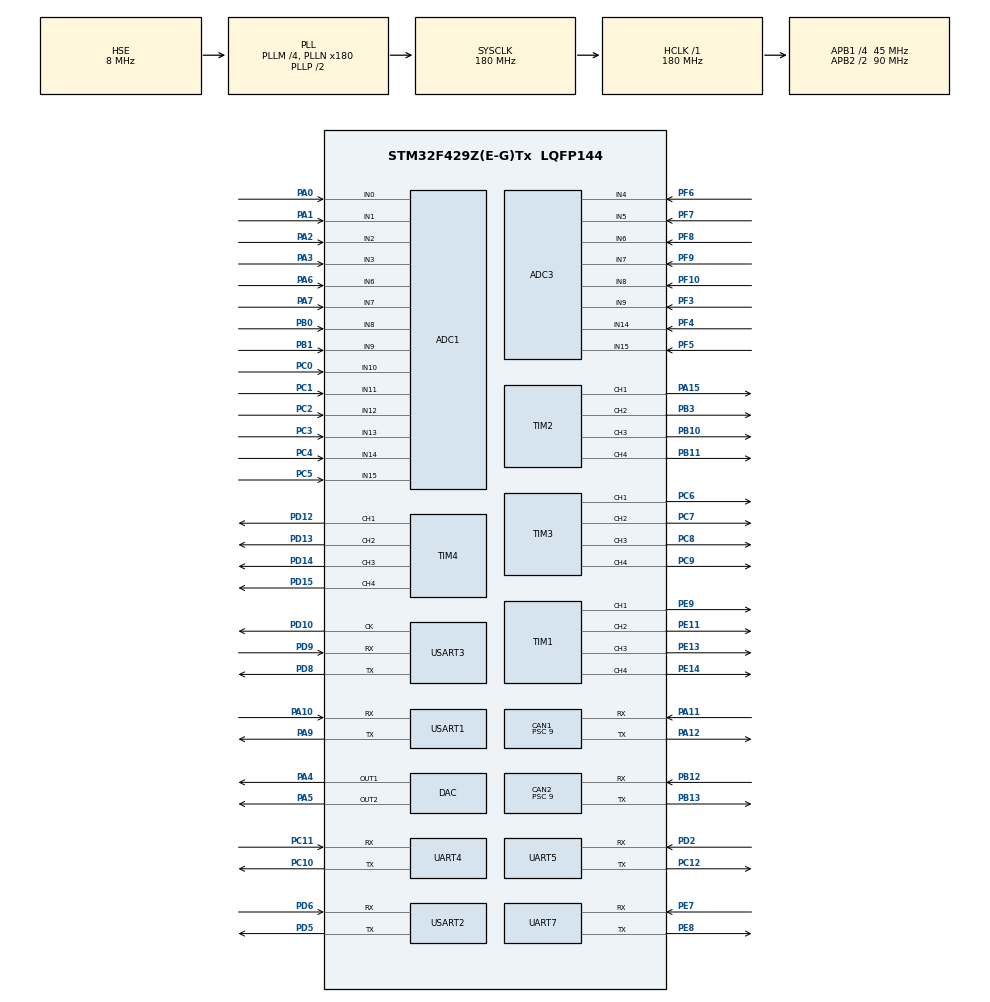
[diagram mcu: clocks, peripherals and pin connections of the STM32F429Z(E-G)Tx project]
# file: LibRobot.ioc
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ADC1.Channel-4\#ChannelRegularConversion=ADC_CHANNEL_6
ADC1.NbrOfConversionFlag=1
ADC1.Rank-4\#ChannelRegularConversion=1
ADC1.SamplingTime-4\#ChannelRegularConversion=ADC_SAMPLETIME_3CYCLES
ADC1.master=1
ADC3.Channel-14\#ChannelRegularConversion=ADC_CHANNEL_4
ADC3.NbrOfConversionFlag=1
ADC3.Rank-14\#ChannelRegularConversion=1
ADC3.SamplingTime-14\#ChannelRegularConversion=ADC_SAMPLETIME_3CYCLES
CAN1.BS1=CAN_BS1_3TQ
CAN1.CalculateTimeBit=1000
CAN1.CalculateTimeQuantum=200.0
CAN1.Prescaler=9
CAN1.SJW=CAN_SJW_1TQ
CAN2.BS1=CAN_BS1_3TQ
CAN2.CalculateTimeBit=1000
CAN2.CalculateTimeQuantum=200.0
CAN2.Prescaler=9
Mcu.Family=STM32F4
Mcu.Name=STM32F429Z(E-G)Tx
Mcu.Package=LQFP144
NVIC.CAN1_RX0_IRQn=true\:0\:0\:false\:false\:true\:true
NVIC.PriorityGroup=NVIC_PRIORITYGROUP_4
NVIC.UART7_IRQn=true\:0\:0\:false\:false\:true\:true
NVIC.USART1_IRQn=true\:0\:0\:false\:false\:true\:true
PA0/WKUP.Signal=ADCx_IN0
PA1.Signal=ADCx_IN1
PA10.Mode=Asynchronous
PA10.Signal=USART1_RX
PA11.Mode=Master
PA11.Signal=CAN1_RX
PA12.Mode=Master
PA12.Signal=CAN1_TX
PA13.Mode=Serial_Wire
PA13.Signal=SYS_JTMS-SWDIO
PA14.Mode=Serial_Wire
PA14.Signal=SYS_JTCK-SWCLK
PA15.Signal=S_TIM2_CH1_ETR
PA2.Signal=ADCx_IN2
PA3.Signal=ADCx_IN3
PA4.Signal=COMP_DAC1_group
PA5.Signal=COMP_DAC2_group
PA6.Signal=ADCx_IN6
PA7.Signal=ADCx_IN7
PA9.Mode=Asynchronous
PA9.Signal=USART1_TX
PB0.Signal=ADCx_IN8
PB1.Signal=ADCx_IN9
PB10.Signal=S_TIM2_CH3
PB11.Signal=S_TIM2_CH4
PB12.Mode=Slave
PB12.Signal=CAN2_RX
PB13.Mode=Slave
PB13.Signal=CAN2_TX
PB3.Signal=S_TIM2_CH2
PC0.Signal=ADCx_IN10
PC1.Signal=ADCx_IN11
PC10.Mode=Asynchronous
PC10.Signal=UART4_TX
PC11.Mode=Asynchronous
PC11.Signal=UART4_RX
PC12.Mode=Asynchronous
PC12.Signal=UART5_TX
PC14/OSC32_IN.Mode=LSE-External-Oscillator
PC14/OSC32_IN.Signal=RCC_OSC32_IN
PC15/OSC32_OUT.Mode=LSE-External-Oscillator
PC15/OSC32_OUT.Signal=RCC_OSC32_OUT
PC2.Signal=ADCx_IN12
PC3.Signal=ADCx_IN13
PC4.Signal=ADCx_IN14
PC5.Signal=ADCx_IN15
PC6.Signal=S_TIM3_CH1
PC7.Signal=S_TIM3_CH2
PC8.Signal=S_TIM3_CH3
PC9.Signal=S_TIM3_CH4
PD10.Mode=Synchronous
PD10.Signal=USART3_CK
PD12.Signal=S_TIM4_CH1
PD13.Signal=S_TIM4_CH2
PD14.Signal=S_TIM4_CH3
PD15.Signal=S_TIM4_CH4
PD2.Mode=Asynchronous
PD2.Signal=UART5_RX
PD5.Mode=Asynchronous
PD5.Signal=USART2_TX
PD6.Mode=Asynchronous
PD6.Signal=USART2_RX
PD8.Mode=Synchronous
PD8.Signal=USART3_TX
PD9.Mode=Synchronous
PD9.Signal=USART3_RX
PE11.Signal=S_TIM1_CH2
PE13.Signal=S_TIM1_CH3
PE14.Signal=S_TIM1_CH4
PE7.Mode=Asynchronous
PE7.Signal=UART7_RX
PE8.Mode=Asynchronous
PE8.Signal=UART7_TX
PE9.Signal=S_TIM1_CH1
PF10.Mode=IN8
PF10.Signal=ADC3_IN8
PF3.Mode=IN9
PF3.Signal=ADC3_IN9
PF4.Mode=IN14
PF4.Signal=ADC3_IN14
PF5.Mode=IN15
PF5.Signal=ADC3_IN15
PF6.Mode=IN4
PF6.Signal=ADC3_IN4
PF7.Mode=IN5
PF7.Signal=ADC3_IN5
PF8.Mode=IN6
PF8.Signal=ADC3_IN6
PF9.Mode=IN7
PF9.Signal=ADC3_IN7
PH0/OSC_IN.Mode=HSE-External-Oscillator
PH0/OSC_IN.Signal=RCC_OSC_IN
PH1/OSC_OUT.Mode=HSE-External-Oscillator
PH1/OSC_OUT.Signal=RCC_OSC_OUT
ProjectManager.HeapSize=0x200
ProjectManager.StackSize=0x400
ProjectManager.TargetToolchain=MDK-ARM V5
RCC.48MHZClocksFreq_Value=90000000
RCC.AHBFreq_Value=180000000
RCC.APB1CLKDivider=RCC_HCLK_DIV4
RCC.APB1Freq_Value=45000000
RCC.APB1TimFreq_Value=90000000
RCC.APB2CLKDivider=RCC_HCLK_DIV2
RCC.APB2Freq_Value=90000000
RCC.APB2TimFreq_Value=180000000
RCC.CortexFreq_Value=180000000
RCC.HCLKFreq_Value=180000000
RCC.HSE_VALUE=8000000
RCC.HSI_VALUE=16000000
RCC.PLLM=4
RCC.PLLN=180
RCC.PLLSourceVirtual=RCC_PLLSOURCE_HSE
RCC.SYSCLKFreq_VALUE=180000000
RCC.SYSCLKSource=RCC_SYSCLKSOURCE_PLLCLK
RCC.VCOOutputFreq_Value=360000000
SH.ADCx_IN0.0=ADC1_IN0,IN0
SH.ADCx_IN1.0=ADC1_IN1,IN1
SH.ADCx_IN10.0=ADC1_IN10,IN10
SH.ADCx_IN11.0=ADC1_IN11,IN11
SH.ADCx_IN12.0=ADC1_IN12,IN12
SH.ADCx_IN13.0=ADC1_IN13,IN13
SH.ADCx_IN14.0=ADC1_IN14,IN14
SH.ADCx_IN15.0=ADC1_IN15,IN15
SH.ADCx_IN2.0=ADC1_IN2,IN2
SH.ADCx_IN3.0=ADC1_IN3,IN3
SH.ADCx_IN6.0=ADC1_IN6,IN6
SH.ADCx_IN7.0=ADC1_IN7,IN7
SH.ADCx_IN8.0=ADC1_IN8,IN8
SH.ADCx_IN9.0=ADC1_IN9,IN9
SH.COMP_DAC1_group.0=DAC_OUT1,DAC_OUT1
SH.COMP_DAC2_group.0=DAC_OUT2,DAC_OUT2
SH.S_TIM1_CH1.0=TIM1_CH1,Output Compare1 CH1
SH.S_TIM1_CH2.0=TIM1_CH2,Output Compare2 CH2
SH.S_TIM1_CH3.0=TIM1_CH3,Output Compare3 CH3
SH.S_TIM1_CH4.0=TIM1_CH4,Output Compare4 CH4
SH.S_TIM2_CH1_ETR.0=TIM2_CH1,PWM Generation1 CH1
SH.S_TIM2_CH2.0=TIM2_CH2,PWM Generation2 CH2
SH.S_TIM2_CH3.0=TIM2_CH3,PWM Generation3 CH3
SH.S_TIM2_CH4.0=TIM2_CH4,PWM Generation4 CH4
SH.S_TIM3_CH1.0=TIM3_CH1,PWM Generation1 CH1
SH.S_TIM3_CH2.0=TIM3_CH2,PWM Generation2 CH2
SH.S_TIM3_CH3.0=TIM3_CH3,PWM Generation3 CH3
SH.S_TIM3_CH4.0=TIM3_CH4,PWM Generation4 CH4
SH.S_TIM4_CH1.0=TIM4_CH1,PWM Generation1 CH1
SH.S_TIM4_CH2.0=TIM4_CH2,PWM Generation2 CH2
SH.S_TIM4_CH3.0=TIM4_CH3,PWM Generation3 CH3
SH.S_TIM4_CH4.0=TIM4_CH4,PWM Generation4 CH4
TIM3.Channel-PWM\ Generation1\ CH1=TIM_CHANNEL_1
TIM3.Channel-PWM\ Generation2\ CH2=TIM_CHANNEL_2
TIM3.Channel-PWM\ Generation3\ CH3=TIM_CHANNEL_3
TIM3.Channel-PWM\ Generation4\ CH4=TIM_CHANNEL_4
TIM4.Channel-PWM\ Generation1\ CH1=TIM_CHANNEL_1
TIM4.Channel-PWM\ Generation2\ CH2=TIM_CHANNEL_2
TIM4.Channel-PWM\ Generation3\ CH3=TIM_CHANNEL_3
TIM4.Channel-PWM\ Generation4\ CH4=TIM_CHANNEL_4
TIM5.Period=4294967295
TIM5.Prescaler=89
UART4.VirtualMode=Asynchronous
UART5.VirtualMode=Asynchronous
UART7.VirtualMode=Asynchronous
USART1.VirtualMode=VM_ASYNC
USART2.VirtualMode=VM_ASYNC
USART3.VirtualMode=VM_SYNC
VP_ADC1_Vref_Input.Mode=IN-Vrefint
VP_TIM1_VS_ControllerModeClock.Mode=Clock Mode
VP_TIM2_VS_ControllerModeClock.Mode=Clock Mode
VP_TIM3_VS_ControllerModeClock.Mode=Clock Mode
VP_TIM5_VS_ClockSourceINT.Mode=Internal
board=LibRobot

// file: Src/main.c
/**
 ******************************************************************************
 * File Name          : main.c
 * Description        : Main program body
 ******************************************************************************
 ** This notice applies to any and all portions of this file
 * that are not between comment pairs USER CODE BEGIN and
 * USER CODE END. Other portions of this file, whether
 * inserted by the user or by software development tools
 * are owned by their respective copyright owners.
 *
 * COPYRIGHT(c) 2020 STMicroelectronics
 *
 * Redistribution and use in source and binary forms, with or without
 *modification, are permitted provided that the following conditions are met:
 *   1. Redistributions of source code must retain the above copyright notice,
 *      this list of conditions and the following disclaimer.
 *   2. Redistributions in binary form must reproduce the above copyright
 *notice, this list of conditions and the following disclaimer in the
 *documentation and/or other materials provided with the distribution.
 *   3. Neither the name of STMicroelectronics nor the names of its contributors
 *      may be used to endorse or promote products derived from this software
 *      without specific prior written permission.
 *
 * THIS SOFTWARE IS PROVIDED BY THE COPYRIGHT HOLDERS AND CONTRIBUTORS "AS IS"
 * AND ANY EXPRESS OR IMPLIED WARRANTIES, INCLUDING, BUT NOT LIMITED TO, THE
 * IMPLIED WARRANTIES OF MERCHANTABILITY AND FITNESS FOR A PARTICULAR PURPOSE
 *ARE DISCLAIMED. IN NO EVENT SHALL THE COPYRIGHT HOLDER OR CONTRIBUTORS BE
 *LIABLE FOR ANY DIRECT, INDIRECT, INCIDENTAL, SPECIAL, EXEMPLARY, OR
 *CONSEQUENTIAL DAMAGES (INCLUDING, BUT NOT LIMITED TO, PROCUREMENT OF
 *SUBSTITUTE GOODS OR SERVICES; LOSS OF USE, DATA, OR PROFITS; OR BUSINESS
 *INTERRUPTION) HOWEVER CAUSED AND ON ANY THEORY OF LIABILITY, WHETHER IN
 *CONTRACT, STRICT LIABILITY, OR TORT (INCLUDING NEGLIGENCE OR OTHERWISE)
 *ARISING IN ANY WAY OUT OF THE USE OF THIS SOFTWARE, EVEN IF ADVISED OF THE
 *POSSIBILITY OF SUCH DAMAGE.
 *
 ******************************************************************************
 */

#include "main.h"

#include "stm32f4xx_hal.h"

/* USER CODE BEGIN Includes */
#include "MotorDriver.h"
#include "stdio.h"
#include "stdlib.h"
/* USER CODE END Includes */

ADC_HandleTypeDef hadc1;
ADC_HandleTypeDef hadc3;

CAN_HandleTypeDef hcan1;
CAN_HandleTypeDef hcan2;

DAC_HandleTypeDef hdac;

TIM_HandleTypeDef htim1;
TIM_HandleTypeDef htim2;
TIM_HandleTypeDef htim3;
TIM_HandleTypeDef htim4;
TIM_HandleTypeDef htim5;

UART_HandleTypeDef huart4;
UART_HandleTypeDef huart5;
UART_HandleTypeDef huart7;
UART_HandleTypeDef huart1;
UART_HandleTypeDef huart2;
USART_HandleTypeDef husart3;

/* USER CODE BEGIN PV */
/* Private variables ---------------------------------------------------------*/

#define QueMAX 128
typedef struct {
    uint8_t* base;
    int front;
    int rear;
} sQueue;

volatile uint8_t UART7_RxBuffer;
volatile sQueue Queue1;
volatile MotorDataType Motor[3];
volatile uint32_t SYS_Time_us;

/* USER CODE END PV */

void SystemClock_Config(void);
static void MX_GPIO_Init(void);
static void MX_ADC1_Init(void);
static void MX_ADC3_Init(void);
static void MX_CAN1_Init(void);
static void MX_CAN2_Init(void);
static void MX_DAC_Init(void);
static void MX_TIM1_Init(void);
static void MX_TIM2_Init(void);
static void MX_TIM3_Init(void);
static void MX_TIM4_Init(void);
static void MX_UART4_Init(void);
static void MX_UART5_Init(void);
static void MX_UART7_Init(void);
static void MX_USART1_UART_Init(void);
static void MX_USART2_UART_Init(void);
static void MX_USART3_Init(void);
static void MX_TIM5_Init(void);

void HAL_TIM_MspPostInit(TIM_HandleTypeDef* htim);

/* USER CODE BEGIN PFP */
/* Private function prototypes -----------------------------------------------*/

void Motor_Init(MotorDataType* MotorC);
uint8_t GetLine(void);
int Tracking(MotorDataType* Motor);
void ChassisTurn(MotorDataType* MotorC, double Angle);

void InitQueue(sQueue* s);
void enQueue(sQueue* s, uint8_t e);
uint8_t deQueue(sQueue* s);
void clrQueue(sQueue* s);
int lenQueue(sQueue s);
/* USER CODE END PFP */

int main(void) {

    /* MCU
     * Configuration----------------------------------------------------------*/

    /* Reset of all peripherals, Initializes the Flash interface and the
     * Systick. */
    HAL_Init();

    /* Configure the system clock */
    SystemClock_Config();

    /* Initialize all configured peripherals */
    MX_GPIO_Init();
    MX_ADC1_Init();
    MX_ADC3_Init();
    MX_CAN1_Init();
    MX_CAN2_Init();
    MX_DAC_Init();
    MX_TIM1_Init();
    MX_TIM2_Init();
    MX_TIM3_Init();
    MX_TIM4_Init();
    MX_UART4_Init();
    MX_UART5_Init();
    MX_UART7_Init();
    MX_USART1_UART_Init();
    MX_USART2_UART_Init();
    MX_USART3_Init();
    MX_TIM5_Init();

    /* USER CODE BEGIN 2 */
    static CanRxMsgTypeDef RxMessage1;
    hcan1.pRxMsg = &RxMessage1;
    static CanTxMsgTypeDef TxMessage1;
    hcan1.pTxMsg = &TxMessage1;
    static CanTxMsgTypeDef TxMessage2;
    hcan2.pTxMsg = &TxMessage2;
    static CanRxMsgTypeDef RxMessage2;
    hcan2.pRxMsg = &RxMessage2;

    Motor_Init(Motor);

    /*CAN过滤器初始化*/
    CAN_FilterConfTypeDef sFilterConfig;

    sFilterConfig.FilterNumber = 0;                     //使用过滤器组1
    sFilterConfig.FilterMode = CAN_FILTERMODE_IDMASK;   //设为掩码模式
    sFilterConfig.FilterScale = CAN_FILTERSCALE_16BIT;  //位宽设置为16位
    sFilterConfig.FilterIdHigh = 0x000 << 5;            // 2个标准CAN
                                              // ID分别放入到2个存储中
    sFilterConfig.FilterIdLow = 0x000 << 5;
    sFilterConfig.FilterMaskIdHigh = 0x000 << 5;
    sFilterConfig.FilterMaskIdLow = 0x000 << 5;
    sFilterConfig.FilterFIFOAssignment = 0;  //接收到的报文放入到FIFO0中
    sFilterConfig.FilterActivation = ENABLE;
    sFilterConfig.BankNumber = 15;                 //设置过滤器编号
    HAL_CAN_ConfigFilter(&hcan1, &sFilterConfig);  //设置过滤器

    HAL_CAN_Receive_IT(&hcan1, CAN_FIFO0);
    /*CAN过滤器初始化*/

    InitQueue(&Queue1);  //初始化命令接收队列
    HAL_UART_Receive_IT(&huart7, (uint8_t*)&UART7_RxBuffer, 1);

    HAL_Delay(500);
    MotorReset(&hcan1, 0x000);
    printf("Motor Reset OK\n");

    HAL_Delay(500);
    MotorModeChoose(&hcan1, 0x011, 0x01);
    HAL_Delay(500);
    MotorReportCAN(&hcan1, 0x01A, 10, 0);

    HAL_TIM_Base_Start_IT(&htim5);  //启动系统运行计时

    /* USER CODE END 2 */

    /* Infinite loop */
    while (1) {

        /* USER CODE BEGIN 3 */

        // TODO：重构主循环状态机，还书过程运动逻辑

        SYS_Time_us = __HAL_TIM_GetCounter(&htim5);

        // test2
        if (Queue1.base[Queue1.rear - 1] == 0xFF) {
            printf("\r\nt=%d\r\n", SYS_Time_us);
            for (int i = 0; i < QueMAX; i++) {
                printf("%x ", Queue1.base[i]);
            }
            clrQueue(&Queue1);
        }

        // test
        /*
        int i;
        while(1) {
            i = i + 100;
            MotorOC(&hcan1, 0X012, i);
            if(i == 3000)
                break;
            HAL_Delay(100);
            PrintMotorState(&Motor[1]);
        }
        while(1) {
            i = i - 100;
            MotorOC(&hcan1, 0X012, i);
            if(i == -3000)
                break;
            HAL_Delay(100);
            PrintMotorState(&Motor[1]);
        }
        while(1) {
            i = i + 100;
            MotorOC(&hcan1, 0X012, i);
            if(i == 0)
                break;
            HAL_Delay(100);
            PrintMotorState(&Motor[1]);
        }
        MotorOC(&hcan1, 0X012, 0);
        while(1) {
            PrintMotorState(&Motor[1]);
            HAL_Delay(1000);
        }
        */
    }

    /* USER CODE END 3 */
}

/** System Clock Configuration
 */
void SystemClock_Config(void) {
    RCC_OscInitTypeDef RCC_OscInitStruct;
    RCC_ClkInitTypeDef RCC_ClkInitStruct;

    /**Configure the main internal regulator output voltage
     */
    __HAL_RCC_PWR_CLK_ENABLE();

    __HAL_PWR_VOLTAGESCALING_CONFIG(PWR_REGULATOR_VOLTAGE_SCALE1);

    /**Initializes the CPU, AHB and APB busses clocks
     */
    RCC_OscInitStruct.OscillatorType = RCC_OSCILLATORTYPE_HSE;
    RCC_OscInitStruct.HSEState = RCC_HSE_ON;
    RCC_OscInitStruct.PLL.PLLState = RCC_PLL_ON;
    RCC_OscInitStruct.PLL.PLLSource = RCC_PLLSOURCE_HSE;
    RCC_OscInitStruct.PLL.PLLM = 4;
    RCC_OscInitStruct.PLL.PLLN = 180;
    RCC_OscInitStruct.PLL.PLLP = RCC_PLLP_DIV2;
    RCC_OscInitStruct.PLL.PLLQ = 4;
    if (HAL_RCC_OscConfig(&RCC_OscInitStruct) != HAL_OK) {
        _Error_Handler(__FILE__, __LINE__);
    }

    /**Activate the Over-Drive mode
     */
    if (HAL_PWREx_EnableOverDrive() != HAL_OK) {
        _Error_Handler(__FILE__, __LINE__);
    }

    /**Initializes the CPU, AHB and APB busses clocks
     */
    RCC_ClkInitStruct.ClockType = RCC_CLOCKTYPE_HCLK | RCC_CLOCKTYPE_SYSCLK |
                                  RCC_CLOCKTYPE_PCLK1 | RCC_CLOCKTYPE_PCLK2;
    RCC_ClkInitStruct.SYSCLKSource = RCC_SYSCLKSOURCE_PLLCLK;
    RCC_ClkInitStruct.AHBCLKDivider = RCC_SYSCLK_DIV1;
    RCC_ClkInitStruct.APB1CLKDivider = RCC_HCLK_DIV4;
    RCC_ClkInitStruct.APB2CLKDivider = RCC_HCLK_DIV2;

    if (HAL_RCC_ClockConfig(&RCC_ClkInitStruct, FLASH_LATENCY_5) != HAL_OK) {
        _Error_Handler(__FILE__, __LINE__);
    }

    /**Configure the Systick interrupt time
     */
    HAL_SYSTICK_Config(HAL_RCC_GetHCLKFreq() / 1000);

    /**Configure the Systick
     */
    HAL_SYSTICK_CLKSourceConfig(SYSTICK_CLKSOURCE_HCLK);

    /* SysTick_IRQn interrupt configuration */
    HAL_NVIC_SetPriority(SysTick_IRQn, 0, 0);
}

/* ADC1 init function */
static void MX_ADC1_Init(void) {
    ADC_ChannelConfTypeDef sConfig;

    /**Configure the global features of the ADC (Clock, Resolution, Data
     * Alignment and number of conversion)
     */
    hadc1.Instance = ADC1;
    hadc1.Init.ClockPrescaler = ADC_CLOCK_SYNC_PCLK_DIV4;
    hadc1.Init.Resolution = ADC_RESOLUTION_12B;
    hadc1.Init.ScanConvMode = DISABLE;
    hadc1.Init.ContinuousConvMode = DISABLE;
    hadc1.Init.DiscontinuousConvMode = DISABLE;
    hadc1.Init.ExternalTrigConvEdge = ADC_EXTERNALTRIGCONVEDGE_NONE;
    hadc1.Init.ExternalTrigConv = ADC_SOFTWARE_START;
    hadc1.Init.DataAlign = ADC_DATAALIGN_RIGHT;
    hadc1.Init.NbrOfConversion = 1;
    hadc1.Init.DMAContinuousRequests = DISABLE;
    hadc1.Init.EOCSelection = ADC_EOC_SINGLE_CONV;
    if (HAL_ADC_Init(&hadc1) != HAL_OK) {
        _Error_Handler(__FILE__, __LINE__);
    }

    /**Configure for the selected ADC regular channel its corresponding rank in
     * the sequencer and its sample time.
     */
    sConfig.Channel = ADC_CHANNEL_6;
    sConfig.Rank = 1;
    sConfig.SamplingTime = ADC_SAMPLETIME_3CYCLES;
    if (HAL_ADC_ConfigChannel(&hadc1, &sConfig) != HAL_OK) {
        _Error_Handler(__FILE__, __LINE__);
    }
}

/* ADC3 init function */
static void MX_ADC3_Init(void) {
    ADC_ChannelConfTypeDef sConfig;

    /**Configure the global features of the ADC (Clock, Resolution, Data
     * Alignment and number of conversion)
     */
    hadc3.Instance = ADC3;
    hadc3.Init.ClockPrescaler = ADC_CLOCK_SYNC_PCLK_DIV4;
    hadc3.Init.Resolution = ADC_RESOLUTION_12B;
    hadc3.Init.ScanConvMode = DISABLE;
    hadc3.Init.ContinuousConvMode = DISABLE;
    hadc3.Init.DiscontinuousConvMode = DISABLE;
    hadc3.Init.ExternalTrigConvEdge = ADC_EXTERNALTRIGCONVEDGE_NONE;
    hadc3.Init.ExternalTrigConv = ADC_SOFTWARE_START;
    hadc3.Init.DataAlign = ADC_DATAALIGN_RIGHT;
    hadc3.Init.NbrOfConversion = 1;
    hadc3.Init.DMAContinuousRequests = DISABLE;
    hadc3.Init.EOCSelection = ADC_EOC_SINGLE_CONV;
    if (HAL_ADC_Init(&hadc3) != HAL_OK) {
        _Error_Handler(__FILE__, __LINE__);
    }

    /**Configure for the selected ADC regular channel its corresponding rank in
     * the sequencer and its sample time.
     */
    sConfig.Channel = ADC_CHANNEL_4;
    sConfig.Rank = 1;
    sConfig.SamplingTime = ADC_SAMPLETIME_3CYCLES;
    if (HAL_ADC_ConfigChannel(&hadc3, &sConfig) != HAL_OK) {
        _Error_Handler(__FILE__, __LINE__);
    }
}

/* CAN1 init function */
static void MX_CAN1_Init(void) {
    hcan1.Instance = CAN1;
    hcan1.Init.Prescaler = 9;
    hcan1.Init.Mode = CAN_MODE_NORMAL;
    hcan1.Init.SJW = CAN_SJW_1TQ;
    hcan1.Init.BS1 = CAN_BS1_3TQ;
    hcan1.Init.BS2 = CAN_BS2_1TQ;
    hcan1.Init.TTCM = DISABLE;
    hcan1.Init.ABOM = DISABLE;
    hcan1.Init.AWUM = DISABLE;
    hcan1.Init.NART = DISABLE;
    hcan1.Init.RFLM = DISABLE;
    hcan1.Init.TXFP = DISABLE;
    if (HAL_CAN_Init(&hcan1) != HAL_OK) {
        _Error_Handler(__FILE__, __LINE__);
    }
}

/* CAN2 init function */
static void MX_CAN2_Init(void) {
    hcan2.Instance = CAN2;
    hcan2.Init.Prescaler = 9;
    hcan2.Init.Mode = CAN_MODE_NORMAL;
    hcan2.Init.SJW = CAN_SJW_1TQ;
    hcan2.Init.BS1 = CAN_BS1_3TQ;
    hcan2.Init.BS2 = CAN_BS2_1TQ;
    hcan2.Init.TTCM = DISABLE;
    hcan2.Init.ABOM = DISABLE;
    hcan2.Init.AWUM = DISABLE;
    hcan2.Init.NART = DISABLE;
    hcan2.Init.RFLM = DISABLE;
    hcan2.Init.TXFP = DISABLE;
    if (HAL_CAN_Init(&hcan2) != HAL_OK) {
        _Error_Handler(__FILE__, __LINE__);
    }
}

/* DAC init function */
static void MX_DAC_Init(void) {
    DAC_ChannelConfTypeDef sConfig;

    /**DAC Initialization
     */
    hdac.Instance = DAC;
    if (HAL_DAC_Init(&hdac) != HAL_OK) {
        _Error_Handler(__FILE__, __LINE__);
    }

    /**DAC channel OUT1 config
     */
    sConfig.DAC_Trigger = DAC_TRIGGER_NONE;
    sConfig.DAC_OutputBuffer = DAC_OUTPUTBUFFER_ENABLE;
    if (HAL_DAC_ConfigChannel(&hdac, &sConfig, DAC_CHANNEL_1) != HAL_OK) {
        _Error_Handler(__FILE__, __LINE__);
    }

    /**DAC channel OUT2 config
     */
    if (HAL_DAC_ConfigChannel(&hdac, &sConfig, DAC_CHANNEL_2) != HAL_OK) {
        _Error_Handler(__FILE__, __LINE__);
    }
}

/* TIM1 init function */
static void MX_TIM1_Init(void) {
    TIM_MasterConfigTypeDef sMasterConfig;
    TIM_OC_InitTypeDef sConfigOC;
    TIM_BreakDeadTimeConfigTypeDef sBreakDeadTimeConfig;

    htim1.Instance = TIM1;
    htim1.Init.Prescaler = 0;
    htim1.Init.CounterMode = TIM_COUNTERMODE_UP;
    htim1.Init.Period = 0;
    htim1.Init.ClockDivision = TIM_CLOCKDIVISION_DIV1;
    htim1.Init.RepetitionCounter = 0;
    if (HAL_TIM_OC_Init(&htim1) != HAL_OK) {
        _Error_Handler(__FILE__, __LINE__);
    }

    sMasterConfig.MasterOutputTrigger = TIM_TRGO_RESET;
    sMasterConfig.MasterSlaveMode = TIM_MASTERSLAVEMODE_DISABLE;
    if (HAL_TIMEx_MasterConfigSynchronization(&htim1, &sMasterConfig) !=
        HAL_OK) {
        _Error_Handler(__FILE__, __LINE__);
    }

    sConfigOC.OCMode = TIM_OCMODE_TIMING;
    sConfigOC.Pulse = 0;
    sConfigOC.OCPolarity = TIM_OCPOLARITY_HIGH;
    sConfigOC.OCNPolarity = TIM_OCNPOLARITY_HIGH;
    sConfigOC.OCFastMode = TIM_OCFAST_DISABLE;
    sConfigOC.OCIdleState = TIM_OCIDLESTATE_RESET;
    sConfigOC.OCNIdleState = TIM_OCNIDLESTATE_RESET;
    if (HAL_TIM_OC_ConfigChannel(&htim1, &sConfigOC, TIM_CHANNEL_1) != HAL_OK) {
        _Error_Handler(__FILE__, __LINE__);
    }

    if (HAL_TIM_OC_ConfigChannel(&htim1, &sConfigOC, TIM_CHANNEL_2) != HAL_OK) {
        _Error_Handler(__FILE__, __LINE__);
    }

    if (HAL_TIM_OC_ConfigChannel(&htim1, &sConfigOC, TIM_CHANNEL_3) != HAL_OK) {
        _Error_Handler(__FILE__, __LINE__);
    }

    if (HAL_TIM_OC_ConfigChannel(&htim1, &sConfigOC, TIM_CHANNEL_4) != HAL_OK) {
        _Error_Handler(__FILE__, __LINE__);
    }

    sBreakDeadTimeConfig.OffStateRunMode = TIM_OSSR_DISABLE;
    sBreakDeadTimeConfig.OffStateIDLEMode = TIM_OSSI_DISABLE;
    sBreakDeadTimeConfig.LockLevel = TIM_LOCKLEVEL_OFF;
    sBreakDeadTimeConfig.DeadTime = 0;
    sBreakDeadTimeConfig.BreakState = TIM_BREAK_DISABLE;
    sBreakDeadTimeConfig.BreakPolarity = TIM_BREAKPOLARITY_HIGH;
    sBreakDeadTimeConfig.AutomaticOutput = TIM_AUTOMATICOUTPUT_DISABLE;
    if (HAL_TIMEx_ConfigBreakDeadTime(&htim1, &sBreakDeadTimeConfig) !=
        HAL_OK) {
        _Error_Handler(__FILE__, __LINE__);
    }

    HAL_TIM_MspPostInit(&htim1);
}

/* TIM2 init function */
static void MX_TIM2_Init(void) {
    TIM_MasterConfigTypeDef sMasterConfig;
    TIM_OC_InitTypeDef sConfigOC;

    htim2.Instance = TIM2;
    htim2.Init.Prescaler = 0;
    htim2.Init.CounterMode = TIM_COUNTERMODE_UP;
    htim2.Init.Period = 0;
    htim2.Init.ClockDivision = TIM_CLOCKDIVISION_DIV1;
    if (HAL_TIM_PWM_Init(&htim2) != HAL_OK) {
        _Error_Handler(__FILE__, __LINE__);
    }

    sMasterConfig.MasterOutputTrigger = TIM_TRGO_RESET;
    sMasterConfig.MasterSlaveMode = TIM_MASTERSLAVEMODE_DISABLE;
    if (HAL_TIMEx_MasterConfigSynchronization(&htim2, &sMasterConfig) !=
        HAL_OK) {
        _Error_Handler(__FILE__, __LINE__);
    }

    sConfigOC.OCMode = TIM_OCMODE_PWM1;
    sConfigOC.Pulse = 0;
    sConfigOC.OCPolarity = TIM_OCPOLARITY_HIGH;
    sConfigOC.OCFastMode = TIM_OCFAST_DISABLE;
    if (HAL_TIM_PWM_ConfigChannel(&htim2, &sConfigOC, TIM_CHANNEL_1) !=
        HAL_OK) {
        _Error_Handler(__FILE__, __LINE__);
    }

    if (HAL_TIM_PWM_ConfigChannel(&htim2, &sConfigOC, TIM_CHANNEL_2) !=
        HAL_OK) {
        _Error_Handler(__FILE__, __LINE__);
    }

    if (HAL_TIM_PWM_ConfigChannel(&htim2, &sConfigOC, TIM_CHANNEL_3) !=
        HAL_OK) {
        _Error_Handler(__FILE__, __LINE__);
    }

    if (HAL_TIM_PWM_ConfigChannel(&htim2, &sConfigOC, TIM_CHANNEL_4) !=
        HAL_OK) {
        _Error_Handler(__FILE__, __LINE__);
    }

    HAL_TIM_MspPostInit(&htim2);
}

/* TIM3 init function */
static void MX_TIM3_Init(void) {
    TIM_MasterConfigTypeDef sMasterConfig;
    TIM_OC_InitTypeDef sConfigOC;

    htim3.Instance = TIM3;
    htim3.Init.Prescaler = 0;
    htim3.Init.CounterMode = TIM_COUNTERMODE_UP;
    htim3.Init.Period = 0;
    htim3.Init.ClockDivision = TIM_CLOCKDIVISION_DIV1;
    if (HAL_TIM_PWM_Init(&htim3) != HAL_OK) {
        _Error_Handler(__FILE__, __LINE__);
    }

    sMasterConfig.MasterOutputTrigger = TIM_TRGO_RESET;
    sMasterConfig.MasterSlaveMode = TIM_MASTERSLAVEMODE_DISABLE;
    if (HAL_TIMEx_MasterConfigSynchronization(&htim3, &sMasterConfig) !=
        HAL_OK) {
        _Error_Handler(__FILE__, __LINE__);
    }

    sConfigOC.OCMode = TIM_OCMODE_PWM1;
    sConfigOC.Pulse = 0;
    sConfigOC.OCPolarity = TIM_OCPOLARITY_HIGH;
    sConfigOC.OCFastMode = TIM_OCFAST_DISABLE;
    if (HAL_TIM_PWM_ConfigChannel(&htim3, &sConfigOC, TIM_CHANNEL_1) !=
        HAL_OK) {
        _Error_Handler(__FILE__, __LINE__);
    }

    if (HAL_TIM_PWM_ConfigChannel(&htim3, &sConfigOC, TIM_CHANNEL_2) !=
        HAL_OK) {
        _Error_Handler(__FILE__, __LINE__);
    }

    if (HAL_TIM_PWM_ConfigChannel(&htim3, &sConfigOC, TIM_CHANNEL_3) !=
        HAL_OK) {
        _Error_Handler(__FILE__, __LINE__);
    }

    if (HAL_TIM_PWM_ConfigChannel(&htim3, &sConfigOC, TIM_CHANNEL_4) !=
        HAL_OK) {
        _Error_Handler(__FILE__, __LINE__);
    }

    HAL_TIM_MspPostInit(&htim3);
}

/* TIM4 init function */
static void MX_TIM4_Init(void) {
    TIM_MasterConfigTypeDef sMasterConfig;
    TIM_OC_InitTypeDef sConfigOC;

    htim4.Instance = TIM4;
    htim4.Init.Prescaler = 0;
    htim4.Init.CounterMode = TIM_COUNTERMODE_UP;
    htim4.Init.Period = 0;
    htim4.Init.ClockDivision = TIM_CLOCKDIVISION_DIV1;
    if (HAL_TIM_PWM_Init(&htim4) != HAL_OK) {
        _Error_Handler(__FILE__, __LINE__);
    }

    sMasterConfig.MasterOutputTrigger = TIM_TRGO_RESET;
    sMasterConfig.MasterSlaveMode = TIM_MASTERSLAVEMODE_DISABLE;
    if (HAL_TIMEx_MasterConfigSynchronization(&htim4, &sMasterConfig) !=
        HAL_OK) {
        _Error_Handler(__FILE__, __LINE__);
    }

    sConfigOC.OCMode = TIM_OCMODE_PWM1;
    sConfigOC.Pulse = 0;
    sConfigOC.OCPolarity = TIM_OCPOLARITY_HIGH;
    sConfigOC.OCFastMode = TIM_OCFAST_DISABLE;
    if (HAL_TIM_PWM_ConfigChannel(&htim4, &sConfigOC, TIM_CHANNEL_1) !=
        HAL_OK) {
        _Error_Handler(__FILE__, __LINE__);
    }

    if (HAL_TIM_PWM_ConfigChannel(&htim4, &sConfigOC, TIM_CHANNEL_2) !=
        HAL_OK) {
        _Error_Handler(__FILE__, __LINE__);
    }

    if (HAL_TIM_PWM_ConfigChannel(&htim4, &sConfigOC, TIM_CHANNEL_3) !=
        HAL_OK) {
        _Error_Handler(__FILE__, __LINE__);
    }

    if (HAL_TIM_PWM_ConfigChannel(&htim4, &sConfigOC, TIM_CHANNEL_4) !=
        HAL_OK) {
        _Error_Handler(__FILE__, __LINE__);
    }

    HAL_TIM_MspPostInit(&htim4);
}

/* TIM5 init function */
static void MX_TIM5_Init(void) {
    TIM_ClockConfigTypeDef sClockSourceConfig;
    TIM_MasterConfigTypeDef sMasterConfig;

    htim5.Instance = TIM5;
    htim5.Init.Prescaler = 89;
    htim5.Init.CounterMode = TIM_COUNTERMODE_UP;
    htim5.Init.Period = 4294967295;
    htim5.Init.ClockDivision = TIM_CLOCKDIVISION_DIV1;
    if (HAL_TIM_Base_Init(&htim5) != HAL_OK) {
        _Error_Handler(__FILE__, __LINE__);
    }

    sClockSourceConfig.ClockSource = TIM_CLOCKSOURCE_INTERNAL;
    if (HAL_TIM_ConfigClockSource(&htim5, &sClockSourceConfig) != HAL_OK) {
        _Error_Handler(__FILE__, __LINE__);
    }

    sMasterConfig.MasterOutputTrigger = TIM_TRGO_RESET;
    sMasterConfig.MasterSlaveMode = TIM_MASTERSLAVEMODE_DISABLE;
    if (HAL_TIMEx_MasterConfigSynchronization(&htim5, &sMasterConfig) !=
        HAL_OK) {
        _Error_Handler(__FILE__, __LINE__);
    }
}

/* UART4 init function */
static void MX_UART4_Init(void) {
    huart4.Instance = UART4;
    huart4.Init.BaudRate = 115200;
    huart4.Init.WordLength = UART_WORDLENGTH_8B;
    huart4.Init.StopBits = UART_STOPBITS_1;
    huart4.Init.Parity = UART_PARITY_NONE;
    huart4.Init.Mode = UART_MODE_TX_RX;
    huart4.Init.HwFlowCtl = UART_HWCONTROL_NONE;
    huart4.Init.OverSampling = UART_OVERSAMPLING_16;
    if (HAL_UART_Init(&huart4) != HAL_OK) {
        _Error_Handler(__FILE__, __LINE__);
    }
}

/* UART5 init function */
static void MX_UART5_Init(void) {
    huart5.Instance = UART5;
    huart5.Init.BaudRate = 115200;
    huart5.Init.WordLength = UART_WORDLENGTH_8B;
    huart5.Init.StopBits = UART_STOPBITS_1;
    huart5.Init.Parity = UART_PARITY_NONE;
    huart5.Init.Mode = UART_MODE_TX_RX;
    huart5.Init.HwFlowCtl = UART_HWCONTROL_NONE;
    huart5.Init.OverSampling = UART_OVERSAMPLING_16;
    if (HAL_UART_Init(&huart5) != HAL_OK) {
        _Error_Handler(__FILE__, __LINE__);
    }
}

/* UART7 init function */
static void MX_UART7_Init(void) {
    huart7.Instance = UART7;
    huart7.Init.BaudRate = 115200;
    huart7.Init.WordLength = UART_WORDLENGTH_8B;
    huart7.Init.StopBits = UART_STOPBITS_1;
    huart7.Init.Parity = UART_PARITY_NONE;
    huart7.Init.Mode = UART_MODE_TX_RX;
    huart7.Init.HwFlowCtl = UART_HWCONTROL_NONE;
    huart7.Init.OverSampling = UART_OVERSAMPLING_16;
    if (HAL_UART_Init(&huart7) != HAL_OK) {
        _Error_Handler(__FILE__, __LINE__);
    }
}

/* USART1 init function */
static void MX_USART1_UART_Init(void) {
    huart1.Instance = USART1;
    huart1.Init.BaudRate = 115200;
    huart1.Init.WordLength = UART_WORDLENGTH_8B;
    huart1.Init.StopBits = UART_STOPBITS_1;
    huart1.Init.Parity = UART_PARITY_NONE;
    huart1.Init.Mode = UART_MODE_TX_RX;
    huart1.Init.HwFlowCtl = UART_HWCONTROL_NONE;
    huart1.Init.OverSampling = UART_OVERSAMPLING_16;
    if (HAL_UART_Init(&huart1) != HAL_OK) {
        _Error_Handler(__FILE__, __LINE__);
    }
}

/* USART2 init function */
static void MX_USART2_UART_Init(void) {
    huart2.Instance = USART2;
    huart2.Init.BaudRate = 115200;
    huart2.Init.WordLength = UART_WORDLENGTH_8B;
    huart2.Init.StopBits = UART_STOPBITS_1;
    huart2.Init.Parity = UART_PARITY_NONE;
    huart2.Init.Mode = UART_MODE_TX_RX;
    huart2.Init.HwFlowCtl = UART_HWCONTROL_NONE;
    huart2.Init.OverSampling = UART_OVERSAMPLING_16;
    if (HAL_UART_Init(&huart2) != HAL_OK) {
        _Error_Handler(__FILE__, __LINE__);
    }
}

/* USART3 init function */
static void MX_USART3_Init(void) {
    husart3.Instance = USART3;
    husart3.Init.BaudRate = 115200;
    husart3.Init.WordLength = USART_WORDLENGTH_8B;
    husart3.Init.StopBits = USART_STOPBITS_1;
    husart3.Init.Parity = USART_PARITY_NONE;
    husart3.Init.Mode = USART_MODE_TX_RX;
    husart3.Init.CLKPolarity = USART_POLARITY_LOW;
    husart3.Init.CLKPhase = USART_PHASE_1EDGE;
    husart3.Init.CLKLastBit = USART_LASTBIT_DISABLE;
    if (HAL_USART_Init(&husart3) != HAL_OK) {
        _Error_Handler(__FILE__, __LINE__);
    }
}

/** Configure pins as
 * Analog
 * Input
 * Output
 * EVENT_OUT
 * EXTI
 */
static void MX_GPIO_Init(void) {
    /* GPIO Ports Clock Enable */
    __HAL_RCC_GPIOC_CLK_ENABLE();
    __HAL_RCC_GPIOF_CLK_ENABLE();
    __HAL_RCC_GPIOH_CLK_ENABLE();
    __HAL_RCC_GPIOA_CLK_ENABLE();
    __HAL_RCC_GPIOB_CLK_ENABLE();
    __HAL_RCC_GPIOE_CLK_ENABLE();
    __HAL_RCC_GPIOD_CLK_ENABLE();
}

/* USER CODE BEGIN 4 */
int fputc(int ch, FILE* f) {
    HAL_UART_Transmit(&huart1, (uint8_t*)&ch, 1, 0xFFFF);
    return ch;
}
int fgetc(FILE* f) {
    uint8_t ch;
    HAL_UART_Receive(&huart1, (uint8_t*)&ch, 1, 0xFFFF);
    return ch;
}

void HAL_CAN_RxCpltCallback(CAN_HandleTypeDef* hcan) {
    UNUSED(hcan);
    for (int i = 0; i < 3; i++) {
        if (Motor[i].Class == (hcan->pRxMsg->StdId & 0x400) >> 8 &&
            Motor[i].Number == (((hcan->pRxMsg->StdId & 0x0F0) >> 4) - 1) &&
            ((hcan->pRxMsg->StdId & 0x00F) == 0x0B)) {
            Motor[i].realCurrent =
                (hcan->pRxMsg->Data[0] << 8) | hcan->pRxMsg->Data[1];
            Motor[i].realVelocity =
                (hcan->pRxMsg->Data[2] << 8) | hcan->pRxMsg->Data[3];
            Motor[i].realPosition =
                (hcan->pRxMsg->Data[4] << 24) | (hcan->pRxMsg->Data[5] << 16) |
                (hcan->pRxMsg->Data[6] << 8) | hcan->pRxMsg->Data[7];
        }
    }
    // HAL_CAN_Receive_IT(&hcan1,CAN_FIFO0); //重新打开CAN1接收中断
}

void HAL_UART_RxCpltCallback(UART_HandleTypeDef* huart) {
    if (huart->Instance == UART7) {
        if (UART7_RxBuffer == 0xF1) {
            clrQueue(&Queue1);
        } else {
            // enQueue(&Queue1, UART7_RxBuffer);
        }
        // printf("%x \r\n",*(huart->pRxBuffPtr));
        // printf("%x \r\n",UART7_RxBuffer);
        enQueue(&Queue1, UART7_RxBuffer);
    }
    /*for(int i = 0;i<QueMAX;i++){
      printf("%x ",Queue1.base[i]);
    }
    printf("\n");*/
    // printf("Queue1.front=%d,Queue1.rear=%d\r\n",Queue1.front,Queue1.rear);
    HAL_UART_Receive_IT(&huart7, (uint8_t*)&UART7_RxBuffer, 1);
}

void Motor_Init(MotorDataType* MotorC) {
    MotorC[0].Class = 0;
    MotorC[0].Number = 1;
    MotorC[0].hcan = &hcan1;
    MotorC[1].Class = 0;
    MotorC[1].Number = 2;
    MotorC[1].hcan = &hcan1;
    MotorC[2].Class = 0;
    MotorC[2].Number = 3;
    MotorC[2].hcan = &hcan1;
}

uint8_t GetLine(void) {
    uint8_t ch = 0x57;
    HAL_StatusTypeDef UART_Status;

    HAL_UART_Transmit(&huart2, (uint8_t*)&ch, 1, 0x000F);
    UART_Status = HAL_UART_Receive(&huart2, (uint8_t*)&ch, 1, 0x000F);

    if (UART_Status == HAL_OK) {
        return ch;
    } else if (UART_Status == HAL_ERROR) {
        printf("Get Line ERROR,ERROR");
    } else if (UART_Status == HAL_BUSY) {
        printf("Get Line ERROR,BUSY");
    } else if (UART_Status == HAL_TIMEOUT) {
        printf("Get Line ERROR,TIMEOUT");
    }
    return 0xAA;
}

int Tracking(MotorDataType* MotorC) {
    uint8_t temp_Line;
    temp_Line = GetLine();
    if (temp_Line == 0xAA) {  //循迹传感器返回错误
        return -1;
    }
    uint8_t Line[8];      //每个传感器的值
    uint8_t sumLine = 0;  //检测到黑色的个数
    for (uint8_t i = 0; i < 8; i++) {
        Line[i] = (temp_Line >> i) & 0x01;
        sumLine += Line[i];
    }
    if (sumLine >= 3) {  //有分叉
        ChassisDriverV(MotorC, 0, 0, 0);
        if (((temp_Line & 0x30) >> 4) && (temp_Line & 0xC0)) {
            return 1;  //两边有分叉
        } else if ((temp_Line & 0xF0) >> 4) {
            return 2;  //左边有分叉
        } else {
            return 3;  //右边有分叉
        }
    }
    double vY = 0.5;
    double vYaw = 0;
    if (Line[3] && Line[4]) {
        vYaw = 0;
    } else if (Line[3] && !Line[4]) {
        vYaw = 0.2;
    } else if (!Line[3] && Line[4]) {
        vYaw = -0.2;
    } else if (!Line[2] && Line[3]) {
        vYaw = -0.8;
    } else if (Line[4] && Line[5]) {
        vYaw = 0.8;
    } else if (Line[2] && !Line[3]) {
        vYaw = 1.5;
    } else if (!Line[4] && Line[5]) {
        vYaw = -1.5;
    } else if (Line[1] && Line[2]) {
        vYaw = 2.0;
    } else if (Line[5] && Line[6]) {
        vYaw = -2.0;
    } else if (Line[1] && !Line[2]) {
        vYaw = 2.5;
    } else if (!Line[5] && Line[6]) {
        vYaw = -2.5;
    } else if (Line[0] && Line[1]) {
        vYaw = 3.0;
    } else if (Line[6] && Line[7]) {
        vYaw = -3.0;
    } else if (Line[0] && !Line[1]) {
        vYaw = 4.0;
    } else if (!Line[6] && Line[7]) {
        vYaw = -4.0;
    } else {
        vY = 0.2;
    }

    ChassisDriverV(Motor, 0, vY, vYaw);
    return 0;
}

void ChassisTurn(MotorDataType* MotorC, double Angle) {
    const double wk = 10000;
    MotorReset2(&MotorC[0]);
    MotorReset2(&MotorC[1]);
    MotorReset2(&MotorC[2]);
    HAL_Delay(500);
    MotorModeChoose2(&MotorC[0], 0x05);
    MotorModeChoose2(&MotorC[1], 0x05);
    MotorModeChoose2(&MotorC[2], 0x05);
    HAL_Delay(100);
    MotorVP2(&MotorC[0], 5000, 1000, wk * Angle);
    MotorVP2(&MotorC[1], 5000, 1000, wk * Angle);
    MotorVP2(&MotorC[2], 5000, 1000, wk * Angle);

    HAL_Delay(5000);
    MotorReset2(&MotorC[0]);
    MotorReset2(&MotorC[1]);
    MotorReset2(&MotorC[2]);
    HAL_Delay(500);
    MotorModeChoose2(&MotorC[0], 0x03);
    MotorModeChoose2(&MotorC[1], 0x03);
    MotorModeChoose2(&MotorC[2], 0x03);
}

void InitQueue(sQueue* s) {
    s->base = (uint8_t*)malloc(QueMAX * sizeof(uint8_t));
    if (!s->base) {
        printf("Queue malloc ERROR");
        _Error_Handler(__FILE__, __LINE__);
    }
    s->front = 0;
    s->rear = 0;
}

void enQueue(sQueue* s, uint8_t e) {
    if ((s->rear + 1) % QueMAX == s->front) {
        printf("Queue Overflow");
        _Error_Handler(__FILE__, __LINE__);
    }
    s->base[s->rear] = e;
    s->rear = (s->rear + 1) % QueMAX;
}

uint8_t deQueue(sQueue* s) {
    uint8_t e;
    if (s->rear == s->front) {
        printf("Queue Empty ERROR");
    }
    e = s->base[s->front];
    s->front = (s->front + 1) % QueMAX;
    return e;
}

void clrQueue(sQueue* s) {
    for (int i = 0; i < QueMAX; i++) {
        s->base[i] = 0;
    }
    s->front = 0;
    s->rear = 0;
}

int lenQueue(sQueue s) {
    return (s.rear - s.front + QueMAX) % QueMAX;
}

/* USER CODE END 4 */

void _Error_Handler(char* file, int line) {
    /* USER CODE BEGIN Error_Handler_Debug */
    /* User can add his own implementation to report the HAL error return state
     */
    printf("ERROR flie = %s,line = %d", file, line);
    while (1) {
    }

    /* USER CODE END Error_Handler_Debug */
}

#ifdef USE_FULL_ASSERT

/**
 * @brief Reports the name of the source file and the source line number
 * where the assert_param error has occurred.
 * @param file: pointer to the source file name
 * @param line: assert_param error line source number
 * @retval None
 */
void assert_failed(uint8_t* file, uint32_t line) {
    /* USER CODE BEGIN 6 */
    /* User can add his own implementation to report the file name and line
      number,
      ex: printf("Wrong parameters value: file %s on line %d\r\n", file, line)
    */
    /* USER CODE END 6 */
}

#endif

/************************ (C) COPYRIGHT STMicroelectronics *****END OF FILE****/
